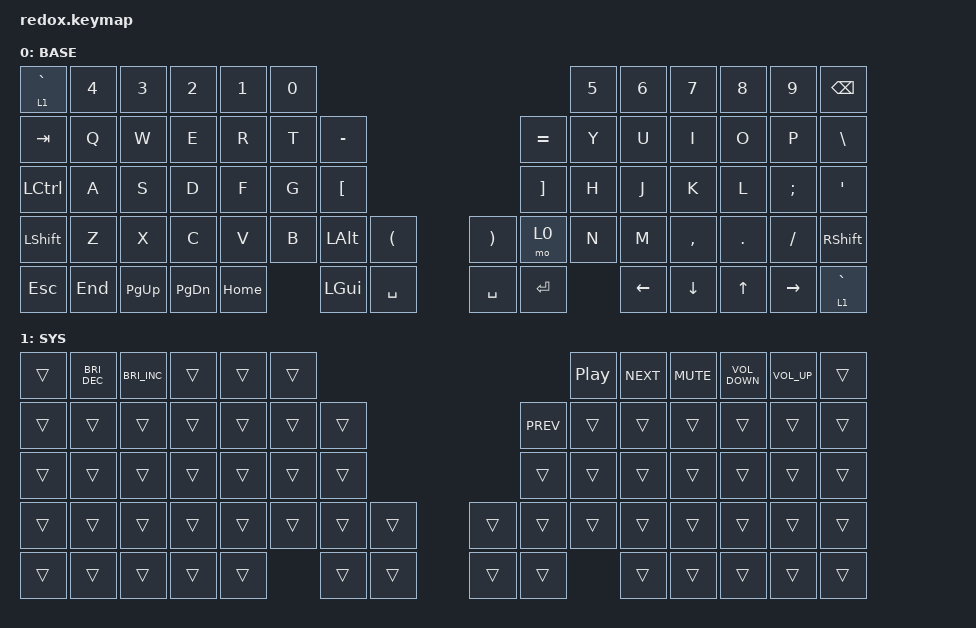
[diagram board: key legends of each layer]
/*
 * Copyright (c) 2021 The ZMK Contributors
 *
 * SPDX-License-Identifier: MIT
 */

#include <behaviors.dtsi>
#include <dt-bindings/zmk/keys.h>
#include <dt-bindings/zmk/bt.h>
#include <dt-bindings/zmk/ext_power.h>
#include <dt-bindings/zmk/outputs.h>
#include <behaviors.dtsi>
#include <dt-bindings/zmk/keys.h>

/ {
    keymap {
        compatible = "zmk,keymap";

        BASE {
            bindings = <
&lt 1 GRAVE  &kp N4   &kp N3       &kp N2         &kp N1    &kp N0                                                                          &kp N5  &kp N6    &kp N7     &kp N8        &kp N9     &kp BSPC
&kp TAB      &kp Q    &kp W        &kp E          &kp R     &kp T   &kp MINUS                                                    &kp EQUAL  &kp Y   &kp U     &kp I      &kp O         &kp P      &kp BACKSLASH
&kp LCTRL    &kp A    &kp S        &kp D          &kp F     &kp G   &kp LBKT                                                     &kp RBKT   &kp H   &kp J     &kp K      &kp L         &kp SEMI   &kp SQT
&kp LSHFT    &kp Z    &kp X        &kp C          &kp V     &kp B   &kp LEFT_ALT  &kp LEFT_PARENTHESIS    &kp RIGHT_PARENTHESIS  &mo 0      &kp N   &kp M     &kp COMMA  &kp DOT       &kp FSLH   &kp RSHFT
&kp ESC      &kp END  &kp PAGE_UP  &kp PAGE_DOWN  &kp HOME          &kp LEFT_GUI  &kp SPACE               &kp SPACE              &kp RETURN         &kp LEFT  &kp DOWN   &kp UP_ARROW  &kp RIGHT  &lt 1 GRAVE
            >;
        };

        SYS {
            bindings = <
&trans  &kp C_BRIGHTNESS_DEC  &kp C_BRIGHTNESS_INC  &trans  &trans  &trans                                        &kp C_PLAY_PAUSE  &kp C_NEXT  &kp K_MUTE  &kp C_VOLUME_DOWN  &kp C_VOLUME_UP  &trans
&trans  &trans                &trans                &trans  &trans  &trans  &trans                    &kp C_PREV  &trans            &trans      &trans      &trans             &trans           &trans
&trans  &trans                &trans                &trans  &trans  &trans  &trans                    &trans      &trans            &trans      &trans      &trans             &trans           &trans
&trans  &trans                &trans                &trans  &trans  &trans  &trans  &trans    &trans  &trans      &trans            &trans      &trans      &trans             &trans           &trans
&trans  &trans                &trans                &trans  &trans          &trans  &trans    &trans  &trans                        &trans      &trans      &trans             &trans           &trans
            >;
        };
    };
};
